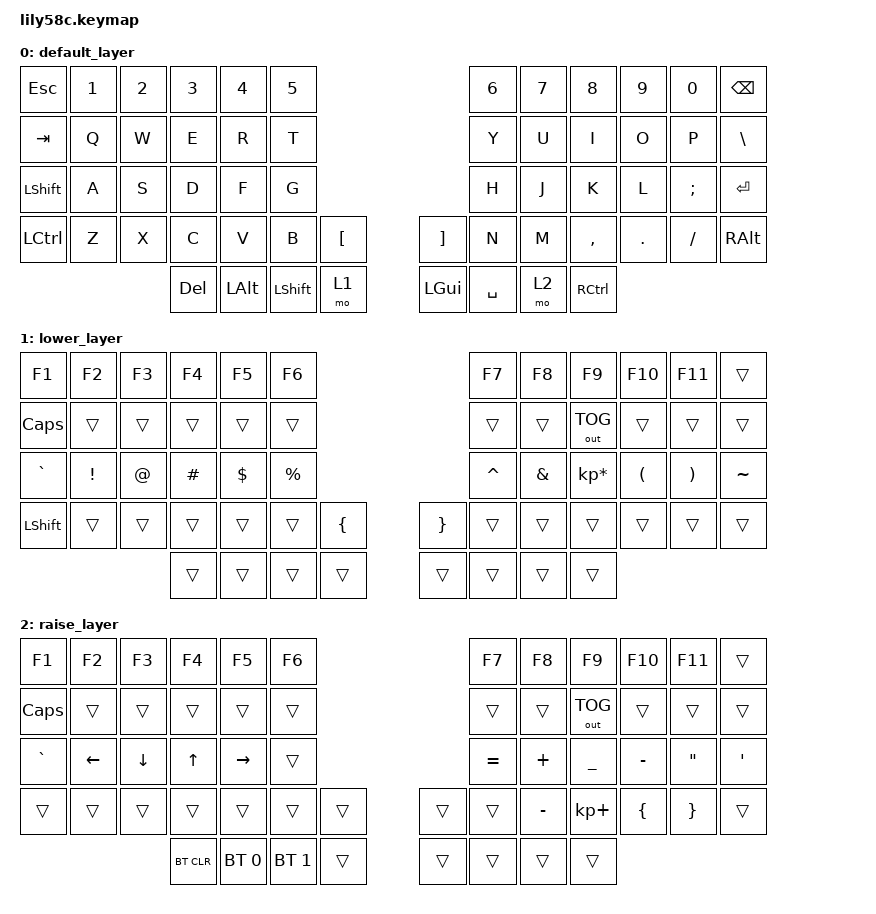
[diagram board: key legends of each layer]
/*
 * Copyright (c) 2020 The ZMK Contributors
 *
 * SPDX-License-Identifier: MIT
 */

#include <behaviors.dtsi>
#include <dt-bindings/zmk/keys.h>
#include <dt-bindings/zmk/bt.h>
#include <dt-bindings/zmk/ext_power.h>
#include <dt-bindings/zmk/outputs.h>

/ {
	keymap {
		compatible = "zmk,keymap";

		default_layer {
// ------------------------------------------------------------------------------------------------------------
// |  ESC  |  1  |  2  |  3   |  4   |  5   |                   |  6   |  7    |  8    |  9   |   0   |   `   |
// |  TAB  |  Q  |  W  |  E   |  R   |  T   |                   |  Y   |  U    |  I    |  O   |   P   |   -   |
// |  CTRL |  A  |  S  |  D   |  F   |  G   |                   |  H   |  J    |  K    |  L   |   ;   |   '   |
// | SHIFT |  Z  |  X  |  C   |  V   |  B   |   "["  |  |  "]"  |  N   |  M    |  ,    |  .   |   /   | SHIFT |
//                     | ALT  |qq	wwwd GUI  | LOWER|  SPACE |  | ENTER | RAISE| BSPC  | GUI   |
			bindings = <
&kp ESC   &kp N1 &kp N2 &kp N3   &kp N4   &kp N5                     &kp N6 &kp N7   &kp N8    &kp N9  &kp N0   &kp BSPC
&kp TAB   &kp Q  &kp W  &kp E    &kp R    &kp T                      &kp Y  &kp U    &kp I     &kp O   &kp P    &kp BSLH
&kp LSHFT &kp A  &kp S  &kp D    &kp F    &kp G                      &kp H  &kp J    &kp K     &kp L   &kp SEMI &kp ENTER
&kp LCTL &kp Z  &kp X  &kp C    &kp V    &kp B  &kp LBKT   &kp RBKT &kp N  &kp M    &kp COMMA &kp DOT &kp FSLH &kp RALT
                        &kp DEL &kp LALT &kp LSHFT &mo 1  &kp LGUI  &kp SPACE  &mo 2 &kp RCTL
			>;
		};

		lower_layer {
// ------------------------------------------------------------------------------------------------------------
// | BTCLR | BT1 | BT2 |  BT3 |  BT4 |  BT5 |                   |      |       |       |      |       |       |
// |  F1   |  F2 |  F3 |  F4  |  F5  |  F6  |                   |  F7  |  F8   |  F9   |  F10 |  F11  |  F12  |
// |   `   |  !  |  @  |  #   |  $   |  %   |                   |  ^   |  &    |  *    |  (   |   )   |   ~   |
// |       |     |     |      |      |      |        |  |       |      |  _    |  +    |  {   |   }   |  "|"  |
//                     |      |      |      |        |  |       |      |       |       |
			bindings = < 
&kp F1     &kp F2       &kp F3    &kp F4    &kp F5  &kp F6                                 &kp F7    &kp F8          &kp F9    &kp F10   &kp F11 &trans
&kp CAPS   &trans   &trans  &trans &trans &trans                             &trans    &trans    &out OUT_TOG    &trans    &trans    &trans
&kp GRAVE  &kp EXCL     &kp AT &kp HASH  &kp DOLLAR   &kp PRCNT                       &kp CARET &kp AMPS  &kp KP_MULTIPLY &kp LPAR  &kp RPAR  &kp TILDE
&kp LSHFT     &trans       &trans &trans &trans &trans    &kp LBRC      &kp RBRC    &trans    &trans &trans     &trans  &trans  &trans
           &trans  &trans  &trans   &trans   &trans      &trans    &trans    &trans
			>;
		};

			raise_layer {
// ------------------------------------------------------------------------------------------------------------
// | BTCLR | BT1 | BT2 |  BT3 |  BT4 |  BT5 |                   |      |       |       |      |       |       |
// |  F1   |  F2 |  F3 |  F4  |  F5  |  F6  |                   |  F7  |  F8   |  F9   |  F10 |  F11  |  F12  |
// |   `   |  !  |  @  |  #   |  $   |  %   |                   |  ^   |  &    |  *    |  (   |   )   |   ~   |
// |       |     |     |      |      |      |        |  |       |      |  _    |  +    |  {   |   }   |  "|"  |
//                     |      |      |      |        |  |       |      |       |       |
			bindings = < 
&kp F1     &kp F2       &kp F3    &kp F4    &kp F5  &kp F6                                 &kp F7    &kp F8          &kp F9    &kp F10   &kp F11 &trans
&kp CAPS   &trans   &trans  &trans &trans &trans                       &trans    &trans    &out OUT_TOG    &trans    &trans    &trans
&kp GRAVE  &kp LEFT     &kp DOWN &kp UP  &kp RIGHT   &trans                       &kp EQUAL &kp PLUS  &kp UNDER &kp MINUS  &kp DQT  &kp SQT
&trans     &trans       &trans &trans &trans &trans    &trans      &trans   &trans    &kp MINUS &kp KP_PLUS     &kp LBRC  &kp RBRC  &trans
           &bt BT_CLR  &bt BT_SEL 0  &bt BT_SEL 1   &trans   &trans      &trans    &trans    &trans
			>;
		};
	};
};
